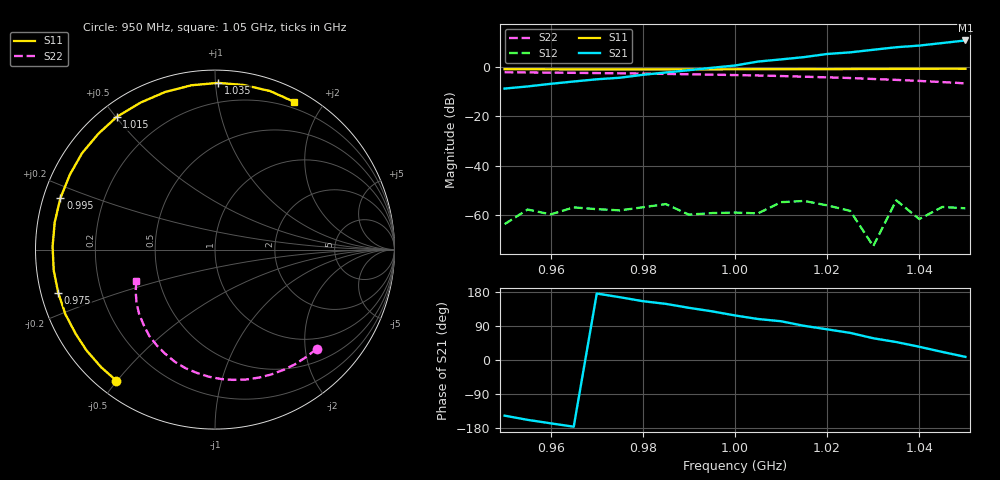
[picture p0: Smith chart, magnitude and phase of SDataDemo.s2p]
!Experimental Test Case
# MHZ S MA R 50
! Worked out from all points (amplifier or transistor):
!   21 points, 950 MHz to 1.05 GHz, reference 50 ohm
!   highest |S21| = 10.9 dB at 1.05 GHz (marker M1)
!   |S21| within 3 dB of that: 1.034 GHz to end of sweep
!   unconditionally stable (mu >= 1): start of sweep to end of sweep
!   at 965 MHz: K = 48.55, MAG = 5.7 dB, |S12| = -56.9 dB
!   at 1 GHz: K = 36.37, MAG = 11.3 dB, |S12| = -59.1 dB
!   at 1.05 GHz: K = 9.98, MAG = 21.1 dB, |S12| = -57.3 dB
!   S11 on the Smith chart (normalised r, x): 950 MHz: 0.06, -0.50; 975 MHz: 0.05, -0.14; 995 MHz: 0.05, +0.16; 1.015 GHz: 0.05, +0.50; 1.035 GHz: 0.07, +1.02; 1.05 GHz: 0.13, +1.66
950  0.914 -126.9  0.369 -146.9  0.0006486 21.6  0.792 -44.4
955  0.912 -134.1  0.408 -158.0  0.001285 20.1  0.785 -49.6
960  0.91 -141.9  0.461 -167.1  0.001022 3.9  0.779 -55.1
965  0.907 -148.9  0.514 -176.0  0.001421 -24.6  0.771 -60.5
970  0.908 -156.8  0.57 175.4  0.001308 -0.7  0.763 -65.8
975  0.906 -164.6  0.613 165.7  0.001234 -34.0  0.754 -71.1
980  0.906 -172.8  0.703 155.2  0.001426 7.8  0.744 -76.6
985  0.905 178.9  0.784 148.1  0.001659 -7.5  0.733 -82.0
990  0.906 170.3  0.873 137.7  0.00101 -34.4  0.722 -87.2
995  0.908 161.5  0.977 128.5  0.001088 -30.8  0.709 -92.8
1000  0.91 152.7  1.085 117.5  0.001115 -20.0  0.694 -98.5
1005  0.915 144.1  1.307 108.2  0.001072 -42.2  0.681 -103.9
1010  0.916 135.2  1.446 102.3  0.001814 -35.7  0.664 -109.7
1015  0.92 126.5  1.609 90.2  0.001919 -10.5  0.643 -115.7
1020  0.918 116.8  1.863 81.0  0.00156 -69.7  0.624 -121.4
1025  0.921 107.4  2.009 71.5  0.001208 -24.8  0.604 -127.4
1030  0.925 98.2  2.27 57.4  0.0002312 -67.0  0.578 -133.5
1035  0.929 88.9  2.553 47.4  0.001977 -87.3  0.554 -139.8
1040  0.931 80.1  2.761 34.9  0.0008215 -38.6  0.528 -145.9
1045  0.935 70.9  3.11 21.2  0.00145 -74.8  0.5 -152.1
1050  0.934 61.9  3.508 8.3  0.001359 -103.3  0.471 -158.5
